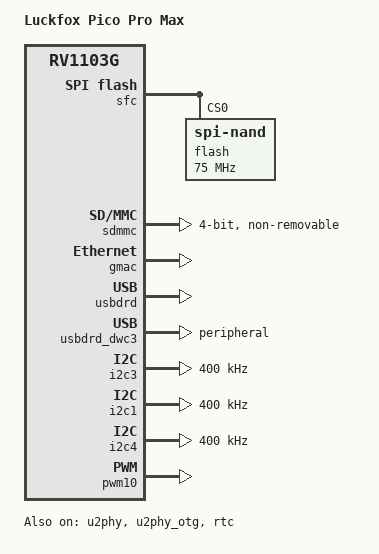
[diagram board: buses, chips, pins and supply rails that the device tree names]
// SPDX-License-Identifier: (GPL-2.0+ OR MIT)
/*
 * Copyright (c) 2022 Rockchip Electronics Co., Ltd.
 */

/dts-v1/;

#include "rv1106.dtsi"
#include "rv1106-evb.dtsi"
#include "rv1106-luckfox-pico-pro-max-ipc.dtsi"

/ {
	model = "Luckfox Pico Pro Max";
	compatible = "rockchip,rv1103g-38x38-ipc-v10", "rockchip,rv1106g3";
};

/**********CRU**********/
/*
 * ARMCLK at 1200 MHz instead of the 1104 MHz rv1106.dtsi assigns.
 *
 * The head is a single Cortex-A7 and the miner needs about 73% of it before a
 * dashboard connects, so the clock is real throughput. rv1106.dtsi pins ARMCLK
 * at 1104 MHz through assigned-clock-rates, and because CONFIG_CPU_FREQ is not
 * in this kernel nothing ever raises it: the cpu0_opp_table's entries up to
 * 1608 MHz have no consumer.
 *
 * vdd_arm on the Pico Pro Max is a regulator-fixed at 900 mV (see
 * rv1106-luckfox-pico-pro-max-ipc.dtsi), and the OPP table asks for:
 *
 *	1104 MHz  850 mV     1416 MHz  925 mV   <- over 900, out
 *	1200 MHz  850 mV     1512 MHz  975 mV   <- out
 *	1296 MHz  875 mV     1608 MHz 1000 mV   <- out
 *
 * 1296 was tried first, on the reasoning that it is the highest entry the fixed
 * supply can hold. It ran, but 1200 is the better place to sit and the reason is
 * the margin: 850 mV against 900 leaves 50 mV, where 1296 leaves 25.
 *
 * That margin matters more than it looks because THE BINNING GATE NEVER RUNS.
 * The OPP voltages are nominal; rockchip's leakage/Pvtm binning adjusts them per
 * part, and that code lives behind CONFIG_CPU_FREQ, which is not in this kernel.
 * So nothing here ever discovers that this particular die wants more than the
 * table's nominal figure — a weak part would simply be undervolted, and an
 * undervolted A7 does not fail loudly, it computes wrong answers. Since the
 * clock buys throughput roughly linearly, giving up 7% of it for double the
 * voltage margin on an unbinned part is the right trade for a machine that is
 * supposed to run unattended.
 *
 * Thermally either is fine: the head measured 57 C at 1104 MHz against a passive
 * trip at 75 C and critical at 115 C.
 *
 * The WHOLE list is repeated deliberately. assigned-clocks is a property, not a
 * merge: naming only ARMCLK here would replace rv1106.dtsi's list outright and
 * silently drop the PLL and bus-root rates with it. Every value below except
 * ARMCLK is copied verbatim from rv1106.dtsi.
 *
 * CLK_500M_SRC is absent on purpose — it is assigned by rv1106g3.dtsi, which
 * this board does not include.
 */
&cru {
	assigned-clocks =
		<&cru PLL_GPLL>, <&cru PLL_CPLL>,
		<&cru ARMCLK>,
		<&cru ACLK_PERI_ROOT>, <&cru HCLK_PERI_ROOT>,
		<&cru PCLK_PERI_ROOT>, <&cru ACLK_BUS_ROOT>,
		<&cru PCLK_TOP_ROOT>, <&cru PCLK_PMU_ROOT>,
		<&cru HCLK_PMU_ROOT>;
	assigned-clock-rates =
		<1188000000>, <1000000000>,
		<1200000000>,
		<400000000>, <200000000>,
		<100000000>, <300000000>,
		<100000000>, <100000000>,
		<200000000>;
};

/**********NPU**********/
//&npu {
//	assigned-clock-rates = <700000000>;
//};

/**********FLASH**********/
&sfc {
	status = "okay";
	flash@0 {
		compatible = "spi-nand";
		reg = <0>;
		spi-max-frequency = <75000000>;
		spi-rx-bus-width = <4>;
		spi-tx-bus-width = <1>;
	};
};

/**********SDMMC**********/
&sdmmc {
	max-freqency = <50000000>;
	no-mmc;
	bus-width = <4>;
	cap-mmc-highspeed;
	cap-sd-highspeed;
	disable-wp;

	//sdio
	cap-sdio-irq;
	non-removable;
	no-1-8-v;
	supports-sdio;

	pinctrl-names = "default";
	pinctrl-0 = <&sdmmc0_clk &sdmmc0_cmd &sdmmc0_det &sdmmc0_bus4>;
	status = "okay";
};

/**********ETH**********/
&gmac {
	status = "okay";
};

/**********USB**********/
&u2phy {
	status = "okay";
};

&u2phy_otg {
	rockchip,dis-u2-susphy;
	status = "okay";
};

&usbdrd {
	status = "okay";
};

&usbdrd_dwc3 {
	status = "okay";
	dr_mode = "peripheral";
};

/**********SPI**********/
&spi0 {
	status = "disabled";
	spidev@0 {
		spi-max-frequency = <50000000>;
	};
	fbtft@0 {
		spi-max-frequency = <50000000>;
	};
};

/**********I2C**********/
/*
 * ducoCarrier_r0 drives TWO I²C buses on the header and holds a third in
 * reserve:
 *
 *   i2c3 M1 -> TCA9546A #1, slots 0..3   ("bus A")   SCL pin 10, SDA pin  9
 *   i2c4 M1 -> TCA9546A #2, slots 4..7   ("bus B")   SCL pin 15, SDA pin 16
 *                + the Si5351A on the 3.3 V side of that trunk
 *   i2c1 M1 -> nothing on the board, kept free       SCL pin 17, SDA pin 11
 *
 * Only those three controllers reach the 40-pin header, and that is a
 * constraint rather than a preference. Checked group by group against
 * rv1106-pinctrl.dtsi and the header pinout:
 *
 *   i2c0m0 GPIO1_A3/A4   i2c0m1 GPIO4_A1/A0   i2c0m2 GPIO3_A4/A5   none broken out
 *   i2c2m0 GPIO1_A0/A1   i2c2m1 GPIO4_A7/A5                        none broken out
 *   i2c1m0 GPIO0_A5/A6                                             not broken out
 *   i2c1m1 GPIO2_B0/B1   -> pins 17 / 11    15.24 mm apart, left row
 *   i2c3m0 GPIO2_A6/A7   -> pins 29 / 34    12.70 mm apart, right row
 *   i2c3m1 GPIO1_D3/D2   -> pins 10 /  9     2.54 mm apart, left row
 *   i2c4m0 GPIO2_A1/A0   -> pins 25 / 24     2.54 mm apart, right row
 *   i2c4m1 GPIO1_C2/C3   -> pins 15 / 16     2.54 mm apart, left row
 *   i2c4m2 GPIO3_C7/D0                                             not broken out
 *
 * So i2c0 and i2c2 are unreachable on this board no matter what is written
 * here, and three is the maximum.
 *
 * **SCL is not always the lower header pin, and i2c4m1 is where that bites.**
 * Every other pair in the table above puts SCL on the HIGHER pin number —
 * i2c3m1 is 10/9, i2c1m1 is 17/11, i2c4m0 was 25/24. i2c4m1 runs the other
 * way: i2c4_scl_m1 is <1 RK_PC2 4> = GPIO1_C2 = pin 15, i2c4_sda_m1 is
 * <1 RK_PC3 4> = GPIO1_C3 = pin 16. The kernel does not care, but a scope
 * clipped by pin order does, and so does anyone reading the header from the
 * outside. Read the group, not the pin numbering.
 *
 * **The clock generator DOES get a controller of its own** — this paragraph said
 * the opposite until 2026-08-28 and it was describing the board as it was before
 * 2026-08-17.
 *
 * The Si5351A used to sit on bus B's 3.3 V segment, upstream of that trunk's
 * PCA9306, sharing i2c4 with the second mux. What it needed was a bus that never
 * sees a 5 V pull-up — V_IHI2C max is 3.6 V and VDDI2C is specified 2.25 to
 * 3.63 V — and the untranslated half of a translated trunk is exactly that.
 *
 * What that arrangement cost was found the hard way: one wedged AVR pulling the
 * 5 V trunk down took the 3.3 V side with it through the PCA9306, so a single
 * stuck chip removed the TIME BASE FOR ALL EIGHT SLOTS. On 2026-08-17 Y1 moved
 * to i2c1, which it now has to itself apart from the panel. Verified on the head
 * 2026-08-28: /proc/iomem lists ff320000.i2c, ff460000.i2c and ff470000.i2c, and
 * the Si5351A answers at 0x60 on /dev/i2c-1.
 *
 * At 400 kHz with 4.7 kOhm pull-ups none of this is signal integrity: these are
 * open-drain single-ended nets with RC-dominated edges around a microsecond.
 * It is routing tidiness, and the real constraint on that board is distance
 * from the eight 20 MHz clock nets.
 *
 * Pull-ups, as fitted: a 4.7 kOhm pair on EACH side of each trunk's PCA9306 —
 * one to 3.3 V, one to 5 V — and a 2.2 kOhm pair to 5 V on every one of the
 * eight slot segments hanging off the muxes.
 *
 * I2C3_M1 — bus A, the first mux and slots 0..3. GPIO1_D3 = SCL (pin 10),
 * GPIO1_D2 = SDA (pin 9): adjacent pads on the left-hand row, which is the
 * whole reason M1 is used here rather than M0.
 *
 * Two changes from stock, and both are needed:
 *
 *   - status okay. Stock leaves i2c3 disabled, so there is no /dev/i2c-* for
 *     it at all. The node number is NOT probe order: i2c-rk3x.c takes
 *     adap.nr from of_alias_get_id(of_node, "i2c"), so the aliases block
 *     fixes this controller at /dev/i2c-3.
 *
 *   - pinctrl-0 = i2c3m1_xfer, and ONLY that group. This is not a restatement
 *     of a default. rv1106.dtsi picks m0; the board's own
 *     rv1106-luckfox-pico-pro-max-ipc.dtsi picks BOTH —
 *     `pinctrl-0 = <&i2c3m1_xfer &i2c3m0_xfer>` — so left alone this
 *     controller would mux GPIO2_A6/A7 (header 29 and 34) as a second SCL/SDA
 *     pair the moment it probes. Naming one group hands those two pads back,
 *     and the carrier counts them free. M1 is <1 RK_PD3 3> + <1 RK_PD2 3> in
 *     rv1106-pinctrl.dtsi with pcfg_pull_none_smt — pull-none plus Schmitt
 *     input, which is what you want when the pull-ups are external. They are.
 *
 * 400 kHz is the ATmega328PB's ceiling, not a tuning choice — the TWI
 * "Features" list caps data transfer at 400 kHz and there is no Fm+ timing
 * row in the datasheet. See hardware/ducoCarrier_r0.md.
 */
&i2c3 {
	status = "okay";
	clock-frequency = <400000>;
	pinctrl-names = "default";
	pinctrl-0 = <&i2c3m1_xfer>;
};

/*
 * I2C1_M1 — enabled, and it carries the Si5351A (0x60) and the SH1106 panel
 * (0x3C). GPIO2_B0 = SCL (pin 17), GPIO2_B1 = SDA (pin 11).
 *
 * "Deliberately connected to nothing" is what this said until 2026-08-28, and it
 * was true for ten days: the clock had moved off i2c1 onto bus B's 3.3 V segment
 * and moved BACK on 2026-08-17, when one wedged AVR proved that sharing a
 * translated trunk costs the time base for all eight slots. The mux-B reset
 * trigger that briefly borrowed pin 17 moved to
 * GPIO1_D0 (pin 19). Both pads are therefore free on ducoCarrier_r0 — and they
 * are kept free on purpose, because i2c1m1 is the LAST complete I²C pair the
 * header still has. Bus A has taken GPIO1_D2/D3, bus B GPIO1_C2/C3,
 * i2c3m0's GPIO2_A6/A7 belong to a controller that is already spoken for, and
 * i2c0 and i2c2 do not reach the header at all. Spending 17 and 11 on two more
 * plain GPIOs would cost the board its only spare bus, and plain GPIOs are the
 * one thing this header still has in quantity.
 *
 * So the controller stays enabled with its muxing declared: two pads that
 * nothing else may use, in exchange for a bus that needs no kernel rebuild to
 * exist. A rebuild means a reflash, on hardware that will be in a rack.
 *
 * Three points about the node itself:
 *
 *   - status okay. Stock leaves it disabled, so there would be no /dev/i2c-1.
 *     The alias in rv1106.dtsi (`i2c1 = &i2c1`) fixes the node number, which
 *     is NOT probe order — i2c-rk3x.c takes adap.nr from of_alias_get_id().
 *
 *   - 400 kHz instead of 100, so all three controllers read the same and
 *     whatever eventually lands here inherits the number the AVRs set.
 *
 *   - pinctrl-0 = i2c1m1_xfer. The -ipc.dtsi already picks M1, but rv1106.dtsi
 *     picks M0 — GPIO0_A5/A6, bank 0, not broken out — and M1 is the ONLY
 *     muxing of i2c1 that reaches the header. Declaring it here means a change
 *     in the vendor dtsi cannot silently move this bus onto pins that do not
 *     exist on the module.
 *
 * An enabled controller with no slaves is inert: i2c-rk3x drives the bus only
 * while a transfer is in flight and nothing issues one. Note that the group is
 * pcfg_pull_none and the carrier fits no pull-up pair here, so the two pads
 * float — which is a reason to fit the resistors together with the first
 * device, not a reason to disable the controller.
 */
&i2c1 {
	status = "okay";
	clock-frequency = <400000>;
	pinctrl-names = "default";
	pinctrl-0 = <&i2c1m1_xfer>;
};

/*
 * SARADC off. rv1106-luckfox-pico-pro-max-ipc.dtsi turns it on with a
 * vref-supply, and nothing on this board reads it: the two ADC pins
 * (GPIO4_C0/C1) are not in the carrier's pin allocation. The IIO and
 * ROCKCHIP_SARADC drivers are out of the defconfig, so without this the node
 * would sit okay with no driver to bind it — harmless, but it would be the
 * only place where the DTS and the kernel config disagree about what this
 * board has, and that is exactly the kind of disagreement that costs an hour
 * later.
 */
&saradc {
	status = "disabled";
};

/*
 * The on-board work LED, GPIO3_C6. The vendor dtsi asks for the "activity"
 * trigger; this board wants "heartbeat", and the reason is the workload.
 *
 * ledtrig-activity blinks at a rate proportional to system load. A duco head
 * pegs the CPU by design — the miner runs flat out — so activity is
 * effectively solid on, which is indistinguishable from default-state="on" and
 * from a kernel that has stopped. It carries no information here.
 *
 * heartbeat does a double-flash whose period tracks load, so it stays readable
 * at 100%, and — the part that matters — it is generated in kernel context. A
 * duco-master that hangs leaves it blinking; only a dead kernel stops it. That
 * is a liveness signal userspace cannot produce about itself.
 *
 * Status LEDs on the carrier are a different job: they carry application
 * meaning, so the master drives them as plain GPIOs.
 */
&work_led {
	linux,default-trigger = "heartbeat";
};

/*
 * i2c4 M1 — bus B: the second mux with slots 4..7, and the Si5351A.
 * GPIO1_C2 = SCL (pin 15), GPIO1_C3 = SDA (pin 16): adjacent pads on the
 * left-hand row of the header — pins 1..20, which is the row that faces the
 * slots on ducoCarrier_r0, the same row bus A leaves from.
 *
 * **SCL is on the LOWER pin number here, and only here.** i2c4_scl_m1 is
 * <1 RK_PC2 4> and i2c4_sda_m1 is <1 RK_PC3 4> in rv1106-pinctrl.dtsi. Every
 * other pair this board could have used runs SCL-high: i2c3m1 10/9, i2c1m1
 * 17/11, i2c4m0 25/24. Nothing in the kernel notices — the wiring does. This
 * is the one place on the header where "SCL is the odd/lower pin" reasoning
 * gives the wrong answer.
 *
 * Three things hang off this controller: the PCA9306 that translates up to the
 * 5 V trunk, the second TCA9546A behind it, and the Si5351A directly on the
 * 3.3 V side. The clock cannot take a 5 V pull-up (V_IHI2C max 3.6 V, VDDI2C
 * 2.25 to 3.63 V), so it lives on the untranslated half where the pull-ups go
 * to 3.3 V, and it never sees the mux at all.
 *
 * **This node used to select M0, and those two pads are free again.** M0 is
 * GPIO2_A1/A0 = header 25/24, on the edge-facing row. Bus B moved to the
 * slot-facing row so the trunk leaves the module beside the slots it feeds
 * instead of crossing the board, and 24/25 went back to the free list along
 * with the rest of GPIO2_A0..A3 — nothing on ducoCarrier_r0 uses any of them
 * now.
 *
 * pinctrl-1 stays deleted, and it is worth restating why now that the pins it
 * named are free rather than in use. The -ipc.dtsi declares
 * `pinctrl-names = "default", "conifg"` (the typo is upstream's) with
 * `pinctrl-1 = <&i2c4m0_xfer>`, a state nothing ever selects: the pinctrl core
 * applies only "default" at probe, i2c-rk3x.c makes no pinctrl_lookup_state()
 * call, and no driver in this tree looks that name up. Inert — but it is a
 * *hidden* claim on GPIO2_A0/A1, and deleting the property is what makes those
 * pads free by construction instead of by argument about driver internals.
 *
 * The pinctrl-0 line is a real override in both directions: the -ipc.dtsi's
 * "default" is i2c4m2_xfer (GPIO3_C7/D0, bank 3, not broken out), so this drops
 * a muxing that goes nowhere and names the one that goes to the header.
 *
 * The two camera sensors the -ipc.dtsi hangs off this bus are switched off.
 * There is no camera on ducoCarrier_r0, and their addresses — 0x30 and 0x31 —
 * sit inside the worker range, so leaving them declared on a bus we now drive
 * is asking for a confusing bus dump. Neither driver is in
 * luckfox_rv1106_linux_defconfig, so nothing would have bound to them in any
 * case; this makes the DTS agree with the kernel config rather than relying on
 * that. Same reasoning as the SARADC block above.
 *
 * They are **disabled, not deleted**: csi_dphy's endpoints hold phandles to
 * &sc3336_out and &mis5001_out, and deleting the nodes breaks those references.
 * The GPIO they claim, &gpio3 RK_PC5, is off-header and conflicts with nothing.
 */
&i2c4 {
	status = "okay";
	clock-frequency = <400000>;
	pinctrl-names = "default";
	pinctrl-0 = <&i2c4m1_xfer>;
	/delete-property/ pinctrl-1;
};

&sc3336 {
	status = "disabled";
};

&mis5001 {
	status = "disabled";
};

/**********PWM**********/
/*
 * No PWM controller is enabled on this board, and two of them no longer have a
 * pad left to be narrowed onto.
 *
 * The narrowing exists because the -ipc.dtsi hands four PWM controllers TWO
 * pin sets each while the Luckfox documentation is explicit that only one may
 * be live: "PWM functionality can only be used by one pin at a time". Naming
 * one set stops the second pad being muxed away the moment the controller
 * probes.
 *
 * **pwm5 and pwm6 no longer have a set to name.** Both of their pads are now
 * I²C on ducoCarrier_r0:
 *
 *   pwm5  m1 = GPIO2_B0 (i2c1 SCL, pin 17)   m2 = GPIO1_C2 (i2c4 SCL, pin 15)
 *   pwm6  m1 = GPIO2_B1 (i2c1 SDA, pin 11)   m2 = GPIO1_C3 (i2c4 SDA, pin 16)
 *
 * There is no third muxing for either, so narrowing them to either set would
 * be aiming a clock output at an I²C line — a narrowing that reads like a
 * safety measure and is the opposite. The overrides are deleted rather than
 * rewritten: both nodes are `status = "disabled"` in rv1106.dtsi and nothing
 * here enables them, CONFIG_PWM_ROCKCHIP is not in
 * luckfox_rv1106_linux_defconfig, and pinctrl is applied at driver bind — so
 * the stock two-set claim they fall back to is inert twice over.
 * **Enabling pwm5 or pwm6 on this carrier is the landmine.** If an extra clock
 * output is ever wanted, take it from the Si5351A: CLK2 is unused.
 *
 * pwm10 keeps its narrowing, because for pwm10 the choice is still a choice:
 * m1 = GPIO1_C6 (header 5) and m2 = GPIO1_D1 (header 20) are both free pads,
 * and one set is what the hardware allows.
 *
 * pwm0/2/3/4/8/9 declare a single set each and need nothing here, and pwm11
 * keeps its stock pair — but four of those sets do land on pads this board
 * uses, pwm11m2 (GPIO1_D3) on bus A's SCL among them. They stay because a
 * disabled node claims nothing; they are catalogued in the pin-claim audit
 * below so that "just enable a PWM" is never a one-line change.
 */
&pwm10 {
	/*
	 * ENABLED, for the fan. rv1106.dtsi leaves this node disabled and every
	 * other PWM in the include chain stays that way — see the pin-claim audit
	 * in hardware/ducoCarrier_r0.md for why "just enable a PWM" is never a
	 * one-line change on this board.
	 *
	 * m1 is GPIO1_C6, header pin 5, and the carrier's netlist confirms where it
	 * goes: J1.5 -> /FAN_PWM -> Q5 gate (BSS138, source GND, drain to M1 pin 4,
	 * the fan header's PWM input). R85 pulls the gate down.
	 *
	 * SO IT INVERTS, AND THAT IS THE SAFE DIRECTION. R87 (10 kΩ) pulls that
	 * drain up to +5 V and a 4-pin fan reads duty as time-HIGH, so:
	 *
	 *	pin HIGH -> FET conducts -> fan input at GND -> 0 % -> fan stops
	 *	pin LOW  -> FET off      -> R87 pulls to 5 V  -> 100 % -> full speed
	 *
	 * At boot the SoC pad is an input and R85 holds the gate off, so the fan
	 * runs FLAT OUT until software says otherwise — which is what a thermal
	 * device should do when nothing is in control. duco-fan therefore writes
	 * duty_cycle = period * (1 - wanted), and a duty of 0 means full speed.
	 *
	 * TACH is the other half: M1 pin 3 -> /FAN_SPEED -> J1.6 (GPIO1_C5), pulled
	 * to 3V3 by R86. It is a plain GPIO, counted in software, not a PWM capture.
	 *
	 * M1 is do-not-place on r0, so on this board the pad is driven and nothing
	 * listens. That is harmless and it lets the driver be tested on the bench.
	 */
	pinctrl-0 = <&pwm10m1_pins>;
	status = "okay";
};

/**********PIN CLAIMS — WHAT ELSE NAMES THE CARRIER'S PADS**********/
/*
 * Every pad ducoCarrier_r0 uses is also named by at least one other node in
 * this include chain. None of those claims is live: every claimant in the two
 * tables below is `status = "disabled"`, and pinctrl is applied at driver bind,
 * so a disabled node muxes nothing. Most have no driver in
 * luckfox_rv1106_linux_defconfig either — there is no CONFIG_PWM_ROCKCHIP, no
 * CONFIG_SPI, no CONFIG_FB_TFT. The one claim that is not status-gated is at
 * the end of this block.
 *
 * The list matters anyway, because it is what turns "just enable that
 * controller" into a decision. Read off the built DTB, not the sources:
 *
 *   pin 10  GPIO1_D3  bus A SCL      also pwm11m2_pins
 *   pin  9  GPIO1_D2  bus A SDA      also pwm0m1_pins
 *   pin 15  GPIO1_C2  bus B SCL      also pwm5m2_pins, spi0m0_mosi
 *   pin 16  GPIO1_C3  bus B SDA      also pwm6m2_pins, spi0m0_miso,
 *                                    and fbtft@0's reset-gpios
 *   pin 17  GPIO2_B0  i2c1 SCL, held free
 *                                    also pwm5m1_pins, uart0m1_xfer,
 *                                    and fbtft@0's led-gpios
 *   pin 11  GPIO2_B1  i2c1 SDA, held free
 *                                    also pwm6m1_pins, uart0m1_xfer,
 *                                    and fbtft@0's dc-gpios
 *
 * And the three pins the master drives as plain GPIO from userspace:
 *
 *   pin  7  GPIO1_C4  INT_N, the wired-OR alert from the eight expanders
 *                                    also uart4m1_xfer, pwm8m1_pins
 *   pin 12  GPIO1_C0  MUX_0_RST_TRG  also spi0m0_cs0, pwm2m2_pins
 *   pin 19  GPIO1_D0  MUX_1_RST_TRG  also uart3m1_xfer, pwm3m2_pins
 *
 * Both RST_TRG lines drive the GATE of an N-FET that pulls the mux's
 * active-low RESET down, so **the GPIO is asserted HIGH to reset the mux** —
 * the FET inverts, and the mux's own pin never sees the 3.3 V rail. That
 * inversion belongs in the master, not here; it is written down because a DTS
 * reader looking for an active-low line will not find one.
 *
 * spi0 deserves its own line: spi0m0 claims GPIO1_C0/C1/C2/C3 = header 12, 14,
 * 15 and 16 — the mux A reset trigger, one genuinely free pin, and BOTH of bus
 * B's pads. It is the single node in this tree that would do the most damage if
 * it were ever enabled, which is why it is explicitly disabled above rather
 * than left to the vendor default.
 *
 * One claim is NOT gated by a status property: the -ipc.dtsi declares a
 * root-level `dht11_sensor` node with `pinctrl-0 = <&gpio1_pc7>` and
 * `gpios = <&gpio1 RK_PC7 ...>` — header pin 4, which this board counts free.
 * The node has no `status`, so it defaults to okay, and it survives into the
 * built DTB. What actually stops it is that CONFIG_DHT11 is absent, so nothing
 * binds and no pinctrl state is ever applied. Left alone because nothing on the
 * carrier wants pin 4, but it is the one latent claim here that a kernel-config
 * change could wake without anybody touching a device tree.
 */

/**********UART**********/
/* UART3_M1 — GPIO1_D0/D1, header 19 and 20. Pin 19 is MUX_1_RST_TRG. */
&uart3 {
	status = "disabled";
};

/* UART4_M1 — GPIO1_C4/C5, header 7 and 6. Pin 7 is INT_N. */
&uart4 {
	status = "disabled";
};

/**********RTC**********/
&rtc {
	status = "okay";
};
